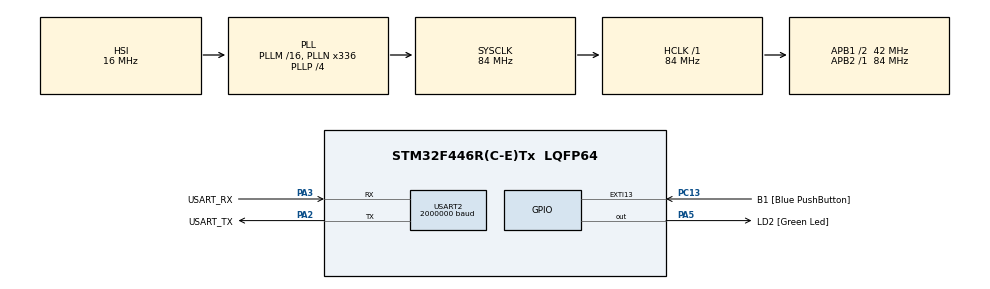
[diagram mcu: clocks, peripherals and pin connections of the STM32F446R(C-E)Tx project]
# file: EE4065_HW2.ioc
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Mcu.Family=STM32F4
Mcu.Name=STM32F446R(C-E)Tx
Mcu.Package=LQFP64
NVIC.PriorityGroup=NVIC_PRIORITYGROUP_0
PA13.GPIO_Label=TMS
PA13.Signal=SYS_JTMS-SWDIO
PA14.GPIO_Label=TCK
PA14.Signal=SYS_JTCK-SWCLK
PA2.GPIO_Label=USART_TX
PA2.Mode=Asynchronous
PA2.Signal=USART2_TX
PA3.GPIO_Label=USART_RX
PA3.Mode=Asynchronous
PA3.Signal=USART2_RX
PA5.GPIO_Label=LD2 [Green Led]
PA5.Signal=GPIO_Output
PB3.GPIO_Label=SWO
PB3.Signal=SYS_JTDO-SWO
PC13.GPIO_Label=B1 [Blue PushButton]
PC13.GPIO_ModeDefaultEXTI=GPIO_MODE_IT_FALLING
PC13.Signal=GPXTI13
PC14-OSC32_IN.Signal=RCC_OSC32_IN
PC15-OSC32_OUT.Signal=RCC_OSC32_OUT
PH0-OSC_IN.Signal=RCC_OSC_IN
PH1-OSC_OUT.Signal=RCC_OSC_OUT
ProjectManager.HeapSize=0x200
ProjectManager.StackSize=0x400
ProjectManager.TargetToolchain=STM32CubeIDE
RCC.AHBFreq_Value=84000000
RCC.APB1CLKDivider=RCC_HCLK_DIV2
RCC.APB1Freq_Value=42000000
RCC.APB1TimFreq_Value=84000000
RCC.APB2Freq_Value=84000000
RCC.APB2TimFreq_Value=84000000
RCC.CortexFreq_Value=84000000
RCC.FLatency-AdvancedSettings=FLASH_LATENCY_2
RCC.HCLKFreq_Value=84000000
RCC.HSE_VALUE=8000000
RCC.HSI_VALUE=16000000
RCC.LSE_VALUE=32768
RCC.PLLN=336
RCC.PLLP=RCC_PLLP_DIV4
RCC.SYSCLKFreq_VALUE=84000000
RCC.SYSCLKSource=RCC_SYSCLKSOURCE_PLLCLK
RCC.USBFreq_Value=168000000
RCC.VCOOutputFreq_Value=336000000
USART2.BaudRate=2000000
USART2.VirtualMode=VM_ASYNC
board=NUCLEO-F446RE

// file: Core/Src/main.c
/* USER CODE BEGIN Header */
/**
  ******************************************************************************
  * @file           : main.c
  * @brief          : Main program body
  ******************************************************************************
  * @attention
  *
  * Copyright (c) 2025 STMicroelectronics.
  * All rights reserved.
  *
  * This software is licensed under terms that can be found in the LICENSE file
  * in the root directory of this software component.
  * If no LICENSE file comes with this software, it is provided AS-IS.
  *
  ******************************************************************************
  */
/* USER CODE END Header */
#include "main.h"

/* USER CODE BEGIN Includes */
#include <stdint.h>
#include "lib_image.h"
#include "lib_serialimage.h"
#include <math.h>
/* USER CODE END Includes */

/* USER CODE BEGIN PD */
#define IMG_WIDTH 128
#define IMG_HEIGHT 128
#define IMG_SIZE (IMG_WIDTH * IMG_HEIGHT)
/* USER CODE END PD */

UART_HandleTypeDef huart2;

/* USER CODE BEGIN PV */
uint32_t histogram_data[256];
uint32_t histogram_data_equalized[256];
/* USER CODE END PV */

void SystemClock_Config(void);
static void MX_GPIO_Init(void);
static void MX_USART2_UART_Init(void);
/* USER CODE BEGIN PFP */
void calcHistogram(uint8_t* pIn, uint32_t* pHist, uint32_t imgSize);
void equalHistogram(uint8_t* pIn, uint8_t* pOut, uint32_t* pHist_CDF, uint32_t imgSize);
void convolve(uint8_t* pIn, uint8_t* pOut, int w, int h, const float* kernel, float divisor);
void medianFilter(uint8_t* pIn, uint8_t* pOut, int w, int h);
void sort(uint8_t arr[9]);
/* USER CODE END PFP */

/* USER CODE BEGIN 0 */
volatile uint8_t pImage[IMG_SIZE];
uint8_t pImage_Equalized[IMG_SIZE];
uint8_t pImage_LowPass[IMG_SIZE];
uint8_t pImage_HighPass[IMG_SIZE];
uint8_t pImage_Median[IMG_SIZE];
IMAGE_HandleTypeDef img_handle;

const float KERNEL_LPF[9] = { 1, 1, 1,
                              1, 1, 1,
                              1, 1, 1 };
const float DIVISOR_LPF = 9.0f;

const float KERNEL_HPF[9] = { -1, -1, -1,
                              -1,  8, -1,
                              -1, -1, -1 };
const float DIVISOR_HPF = 1.0f;
/* USER CODE END 0 */

int main(void)
{

  /* MCU Configuration--------------------------------------------------------*/

  /* Reset of all peripherals, Initializes the Flash interface and the Systick. */
  HAL_Init();

  /* Configure the system clock */
  SystemClock_Config();

  /* Initialize all configured peripherals */
  MX_GPIO_Init();
  MX_USART2_UART_Init();
  /* USER CODE BEGIN 2 */

  LIB_IMAGE_InitStruct(&img_handle, (uint8_t*)pImage, IMG_WIDTH, IMG_HEIGHT, IMAGE_FORMAT_GRAYSCALE);

  while (LIB_SERIAL_IMG_Receive(&img_handle) != SERIAL_OK){
		HAL_Delay(100);
  }

  // Q1: Histogram
  calcHistogram((uint8_t*)pImage, histogram_data, IMG_SIZE);

  // Q2: Histogram Equalization
  equalHistogram((uint8_t*)pImage, pImage_Equalized, histogram_data, IMG_SIZE);
  calcHistogram(pImage_Equalized, histogram_data_equalized, IMG_SIZE);
  img_handle.pData = pImage_Equalized;
  LIB_SERIAL_IMG_Transmit(&img_handle);
  HAL_Delay(2000);

  // Q3: Convolution
  convolve((uint8_t*)pImage, pImage_LowPass, IMG_WIDTH, IMG_HEIGHT, KERNEL_LPF, DIVISOR_LPF);
  img_handle.pData = pImage_LowPass;
  LIB_SERIAL_IMG_Transmit(&img_handle);
  HAL_Delay(2000);
  convolve((uint8_t*)pImage, pImage_HighPass, IMG_WIDTH, IMG_HEIGHT, KERNEL_HPF, DIVISOR_HPF);
  img_handle.pData = pImage_HighPass;
  LIB_SERIAL_IMG_Transmit(&img_handle);
  HAL_Delay(2000);

  medianFilter((uint8_t*)pImage, pImage_Median, IMG_WIDTH, IMG_HEIGHT);
  img_handle.pData = pImage_Median;
  LIB_SERIAL_IMG_Transmit(&img_handle);
  HAL_Delay(2000);

  /* USER CODE END 2 */

  /* Infinite loop */
  while (1)
  {

  }
}

void SystemClock_Config(void)
{
  RCC_OscInitTypeDef RCC_OscInitStruct = {0};
  RCC_ClkInitTypeDef RCC_ClkInitStruct = {0};

  /** Configure the main internal regulator output voltage
  */
  __HAL_RCC_PWR_CLK_ENABLE();
  __HAL_PWR_VOLTAGESCALING_CONFIG(PWR_REGULATOR_VOLTAGE_SCALE3);

  /** Initializes the RCC Oscillators according to the specified parameters
  * in the RCC_OscInitTypeDef structure.
  */
  RCC_OscInitStruct.OscillatorType = RCC_OSCILLATORTYPE_HSI;
  RCC_OscInitStruct.HSIState = RCC_HSI_ON;
  RCC_OscInitStruct.HSICalibrationValue = RCC_HSICALIBRATION_DEFAULT;
  RCC_OscInitStruct.PLL.PLLState = RCC_PLL_ON;
  RCC_OscInitStruct.PLL.PLLSource = RCC_PLLSOURCE_HSI;
  RCC_OscInitStruct.PLL.PLLM = 16;
  RCC_OscInitStruct.PLL.PLLN = 336;
  RCC_OscInitStruct.PLL.PLLP = RCC_PLLP_DIV4;
  RCC_OscInitStruct.PLL.PLLQ = 2;
  RCC_OscInitStruct.PLL.PLLR = 2;
  if (HAL_RCC_OscConfig(&RCC_OscInitStruct) != HAL_OK)
  {
    Error_Handler();
  }

  /** Initializes the CPU, AHB and APB buses clocks
  */
  RCC_ClkInitStruct.ClockType = RCC_CLOCKTYPE_HCLK|RCC_CLOCKTYPE_SYSCLK
                              |RCC_CLOCKTYPE_PCLK1|RCC_CLOCKTYPE_PCLK2;
  RCC_ClkInitStruct.SYSCLKSource = RCC_SYSCLKSOURCE_PLLCLK;
  RCC_ClkInitStruct.AHBCLKDivider = RCC_SYSCLK_DIV1;
  RCC_ClkInitStruct.APB1CLKDivider = RCC_HCLK_DIV2;
  RCC_ClkInitStruct.APB2CLKDivider = RCC_HCLK_DIV1;

  if (HAL_RCC_ClockConfig(&RCC_ClkInitStruct, FLASH_LATENCY_2) != HAL_OK)
  {
    Error_Handler();
  }
}

static void MX_USART2_UART_Init(void)
{

  huart2.Instance = USART2;
  huart2.Init.BaudRate = 2000000;
  huart2.Init.WordLength = UART_WORDLENGTH_8B;
  huart2.Init.StopBits = UART_STOPBITS_1;
  huart2.Init.Parity = UART_PARITY_NONE;
  huart2.Init.Mode = UART_MODE_TX_RX;
  huart2.Init.HwFlowCtl = UART_HWCONTROL_NONE;
  huart2.Init.OverSampling = UART_OVERSAMPLING_16;
  if (HAL_UART_Init(&huart2) != HAL_OK)
  {
    Error_Handler();
  }

}

static void MX_GPIO_Init(void)
{
  GPIO_InitTypeDef GPIO_InitStruct = {0};

  /* GPIO Ports Clock Enable */
  __HAL_RCC_GPIOC_CLK_ENABLE();
  __HAL_RCC_GPIOH_CLK_ENABLE();
  __HAL_RCC_GPIOA_CLK_ENABLE();
  __HAL_RCC_GPIOB_CLK_ENABLE();

  /*Configure GPIO pin Output Level */
  HAL_GPIO_WritePin(LD2_GPIO_Port, LD2_Pin, GPIO_PIN_RESET);

  /*Configure GPIO pin : B1_Pin */
  GPIO_InitStruct.Pin = B1_Pin;
  GPIO_InitStruct.Mode = GPIO_MODE_IT_FALLING;
  GPIO_InitStruct.Pull = GPIO_NOPULL;
  HAL_GPIO_Init(B1_GPIO_Port, &GPIO_InitStruct);

  /*Configure GPIO pin : LD2_Pin */
  GPIO_InitStruct.Pin = LD2_Pin;
  GPIO_InitStruct.Mode = GPIO_MODE_OUTPUT_PP;
  GPIO_InitStruct.Pull = GPIO_NOPULL;
  GPIO_InitStruct.Speed = GPIO_SPEED_FREQ_LOW;
  HAL_GPIO_Init(LD2_GPIO_Port, &GPIO_InitStruct);

}

/* USER CODE BEGIN 4 */
void calcHistogram(uint8_t* pIn, uint32_t* pHist, uint32_t imgSize){
    for (int i = 0; i < 256; i++) {
        pHist[i] = 0;
    }

    for (int i = 0; i < imgSize; i++) {
        pHist[pIn[i]]++;
    }
}

void equalHistogram(uint8_t* pIn, uint8_t* pOut, uint32_t* pHist_in, uint32_t imgSize){
	    calcHistogram(pIn, pHist_in, imgSize);

	    static uint32_t cdf[256]; // keep cdf away from stack
	    cdf[0] = pHist_in[0];
	    for (int i = 1; i < 256; i++) {
	        cdf[i] = cdf[i - 1] + pHist_in[i];
	    }

	    // Formula: h'(g_k) = ((L-1) / MN) * CDF(k)
	    // L-1 = 255
	    // MN = imgSize
	    float scale_factor = 255.0f / (float)imgSize;

	    uint8_t lut[256];
	    for (int k = 0; k < 256; k++) {
	        lut[k] = (uint8_t)(scale_factor * (float)cdf[k]);
	    }

	    for (int i = 0; i < imgSize; i++) {
	        pOut[i] = lut[pIn[i]];
	    }
}

void convolve(uint8_t* pIn, uint8_t* pOut, int w, int h, const float* kernel, float divisor){
    float sum;
    int pixel_pos;

    for (int y = 1; y < h-1; y++) {
        for (int x = 1; x < w-1; x++) {

            sum = 0.0f;

            sum += (float)pIn[(y-1)*w + (x-1)] * kernel[0];
            sum += (float)pIn[(y-1)*w + (x)  ] * kernel[1];
            sum += (float)pIn[(y-1)*w + (x+1)] * kernel[2];

            sum += (float)pIn[(y)*w   + (x-1)] * kernel[3];
            sum += (float)pIn[(y)*w   + (x)  ] * kernel[4];
            sum += (float)pIn[(y)*w   + (x+1)] * kernel[5];

            sum += (float)pIn[(y+1)*w + (x-1)] * kernel[6];
            sum += (float)pIn[(y+1)*w + (x)  ] * kernel[7];
            sum += (float)pIn[(y+1)*w + (x+1)] * kernel[8];

            sum = sum / divisor;

            // clamping olayi
            if (sum < 0)   sum = 0;
            if (sum > 255) sum = 255;

            pixel_pos = y*w + x;
            pOut[pixel_pos] = (uint8_t)sum;
        }
    }
}

void sort(uint8_t arr[9]) {
    for (int i = 0; i < 9 - 1; i++) {
        for (int j = 0; j < 9 - i - 1; j++) {
            if (arr[j] > arr[j + 1]) {
                uint8_t temp = arr[j];
                arr[j] = arr[j + 1];
                arr[j + 1] = temp;
            }
        }
    }
}

void medianFilter(uint8_t* pIn, uint8_t* pOut, int w, int h)
{
    uint8_t window[9];

    for (int y = 1; y < h - 1; y++) {
        for (int x = 1; x < w - 1; x++) {

            window[0] = pIn[(y-1)*w + (x-1)];
            window[1] = pIn[(y-1)*w + (x)  ];
            window[2] = pIn[(y-1)*w + (x+1)];
            window[3] = pIn[(y)*w   + (x-1)];
            window[4] = pIn[(y)*w   + (x)  ];
            window[5] = pIn[(y)*w   + (x+1)];
            window[6] = pIn[(y+1)*w + (x-1)];
            window[7] = pIn[(y+1)*w + (x)  ];
            window[8] = pIn[(y+1)*w + (x+1)];

            sort(window);

            pOut[y*w + x] = window[4];
        }
    }
}

/* USER CODE END 4 */

void Error_Handler(void)
{
  __disable_irq();
  while (1)
  {
  }
}
